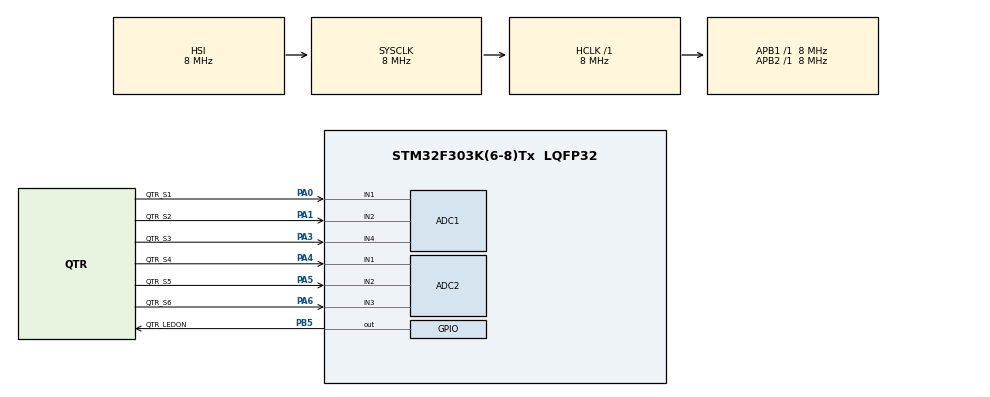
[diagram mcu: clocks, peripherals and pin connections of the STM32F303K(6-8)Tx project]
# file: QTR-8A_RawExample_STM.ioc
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ADC1.Channel-0\#ChannelRegularConversion=ADC_CHANNEL_1
ADC1.Channel-1\#ChannelRegularConversion=ADC_CHANNEL_2
ADC1.Channel-4\#ChannelRegularConversion=ADC_CHANNEL_4
ADC1.ClockPrescaler=ADC_CLOCK_ASYNC_DIV1
ADC1.DMAContinuousRequests=ENABLE
ADC1.EOCSelection=ADC_EOC_SEQ_CONV
ADC1.ExternalTrigConv=ADC_EXTERNALTRIGCONV_T2_TRGO
ADC1.InjNumberOfConversion=0
ADC1.NbrOfConversion=3
ADC1.NbrOfConversionFlag=1
ADC1.Offset-0\#ChannelRegularConversion=0
ADC1.Offset-1\#ChannelRegularConversion=0
ADC1.Offset-4\#ChannelRegularConversion=0
ADC1.OffsetNumber-0\#ChannelRegularConversion=ADC_OFFSET_NONE
ADC1.OffsetNumber-1\#ChannelRegularConversion=ADC_OFFSET_NONE
ADC1.OffsetNumber-4\#ChannelRegularConversion=ADC_OFFSET_NONE
ADC1.Rank-0\#ChannelRegularConversion=1
ADC1.Rank-1\#ChannelRegularConversion=2
ADC1.Rank-4\#ChannelRegularConversion=3
ADC1.SamplingTime-0\#ChannelRegularConversion=ADC_SAMPLETIME_181CYCLES_5
ADC1.SamplingTime-1\#ChannelRegularConversion=ADC_SAMPLETIME_181CYCLES_5
ADC1.SamplingTime-4\#ChannelRegularConversion=ADC_SAMPLETIME_181CYCLES_5
ADC1.master=1
ADC2.Channel-0\#ChannelRegularConversion=ADC_CHANNEL_1
ADC2.Channel-1\#ChannelRegularConversion=ADC_CHANNEL_2
ADC2.Channel-5\#ChannelRegularConversion=ADC_CHANNEL_3
ADC2.DMAContinuousRequests=ENABLE
ADC2.EOCSelection=ADC_EOC_SEQ_CONV
ADC2.ExternalTrigConv=ADC_EXTERNALTRIGCONV_T2_TRGO
ADC2.NbrOfConversion=3
ADC2.NbrOfConversionFlag=1
ADC2.Offset-0\#ChannelRegularConversion=0
ADC2.Offset-1\#ChannelRegularConversion=0
ADC2.Offset-5\#ChannelRegularConversion=0
ADC2.OffsetNumber-0\#ChannelRegularConversion=ADC_OFFSET_NONE
ADC2.OffsetNumber-1\#ChannelRegularConversion=ADC_OFFSET_NONE
ADC2.OffsetNumber-5\#ChannelRegularConversion=ADC_OFFSET_NONE
ADC2.Rank-0\#ChannelRegularConversion=1
ADC2.Rank-1\#ChannelRegularConversion=2
ADC2.Rank-5\#ChannelRegularConversion=3
ADC2.SamplingTime-0\#ChannelRegularConversion=ADC_SAMPLETIME_181CYCLES_5
ADC2.SamplingTime-1\#ChannelRegularConversion=ADC_SAMPLETIME_181CYCLES_5
ADC2.SamplingTime-5\#ChannelRegularConversion=ADC_SAMPLETIME_181CYCLES_5
Dma.ADC1.0.Direction=DMA_PERIPH_TO_MEMORY
Dma.ADC1.0.Instance=DMA1_Channel1
Dma.ADC1.0.MemDataAlignment=DMA_MDATAALIGN_WORD
Dma.ADC1.0.MemInc=DMA_MINC_ENABLE
Dma.ADC1.0.Mode=DMA_CIRCULAR
Dma.ADC1.0.PeriphDataAlignment=DMA_PDATAALIGN_WORD
Dma.ADC1.0.PeriphInc=DMA_PINC_DISABLE
Dma.ADC1.0.Priority=DMA_PRIORITY_LOW
Dma.ADC2.1.Direction=DMA_PERIPH_TO_MEMORY
Dma.ADC2.1.Instance=DMA1_Channel2
Dma.ADC2.1.MemDataAlignment=DMA_MDATAALIGN_WORD
Dma.ADC2.1.MemInc=DMA_MINC_ENABLE
Dma.ADC2.1.Mode=DMA_CIRCULAR
Dma.ADC2.1.PeriphDataAlignment=DMA_PDATAALIGN_WORD
Dma.ADC2.1.PeriphInc=DMA_PINC_DISABLE
Dma.ADC2.1.Priority=DMA_PRIORITY_LOW
Dma.Request0=ADC1
Dma.Request1=ADC2
Mcu.Family=STM32F3
Mcu.Name=STM32F303K(6-8)Tx
Mcu.Package=LQFP32
NVIC.ADC1_2_IRQn=true\:0\:0\:false\:false\:true\:true\:true
NVIC.DMA1_Channel1_IRQn=true\:0\:0\:false\:false\:true\:false\:true
NVIC.DMA1_Channel2_IRQn=true\:0\:0\:false\:false\:true\:false\:true
NVIC.PriorityGroup=NVIC_PRIORITYGROUP_4
PA0.GPIO_Label=QTR_S1
PA0.Mode=IN1-Single-Ended
PA0.Signal=ADC1_IN1
PA1.GPIO_Label=QTR_S2
PA1.Mode=IN2-Single-Ended
PA1.Signal=ADC1_IN2
PA3.GPIO_Label=QTR_S3
PA3.Mode=IN4-Single-Ended
PA3.Signal=ADC1_IN4
PA4.GPIO_Label=QTR_S4
PA4.Mode=IN1-Single-Ended
PA4.Signal=ADC2_IN1
PA5.GPIO_Label=QTR_S5
PA5.Mode=IN2-Single-Ended
PA5.Signal=ADC2_IN2
PA6.GPIO_Label=QTR_S6
PA6.Mode=IN3-Single-Ended
PA6.Signal=ADC2_IN3
PB5.GPIO_Label=QTR_LEDON
PB5.Signal=GPIO_Output
ProjectManager.HeapSize=0x200
ProjectManager.StackSize=0x400
ProjectManager.TargetToolchain=TrueSTUDIO
RCC.AHBFreq_Value=8000000
RCC.APB1Freq_Value=8000000
RCC.APB1TimFreq_Value=8000000
RCC.APB2Freq_Value=8000000
RCC.CortexFreq_Value=8000000
RCC.HSE_VALUE=8000000
RCC.HSI_VALUE=8000000
RCC.PLLMUL=RCC_PLL_MUL4
RCC.SYSCLKFreq_VALUE=8000000
TIM2.Period=500
TIM2.Prescaler=8
TIM2.TIM_MasterOutputTrigger=TIM_TRGO_UPDATE
VP_TIM2_VS_ClockSourceINT.Mode=Internal
board=custom

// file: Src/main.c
/* USER CODE BEGIN Header */
/**
  ******************************************************************************
  * @file           : main.c
  * @brief          : Main program body
  ******************************************************************************
  * @attention
  *
  * <h2><center>&copy; Copyright (c) 2019 STMicroelectronics.
  * All rights reserved.</center></h2>
  *
  * This software component is licensed by ST under BSD 3-Clause license,
  * the "License"; You may not use this file except in compliance with the
  * License. You may obtain a copy of the License at:
  *                        opensource.org/licenses/BSD-3-Clause
  *
  ******************************************************************************
  */
/* USER CODE END Header */

#include "main.h"

ADC_HandleTypeDef hadc1;
ADC_HandleTypeDef hadc2;
DMA_HandleTypeDef hdma_adc1;
DMA_HandleTypeDef hdma_adc2;

TIM_HandleTypeDef htim2;

void SystemClock_Config(void);
static void MX_GPIO_Init(void);
static void MX_DMA_Init(void);
static void MX_ADC1_Init(void);
static void MX_TIM2_Init(void);
static void MX_ADC2_Init(void);

/* USER CODE BEGIN 0 */
uint8_t _numSensors=6;
uint32_t sensorValues[6];

int _lastValue=0;
uint32_t _maxValue=4000;
const uint32_t _lineValue = 200;
const uint32_t _noiseThreshold = 50;

int readLine(uint32_t *sensor_values, uint8_t white_line)
{
	uint8_t i, on_line=0;
	unsigned long avg=0;
	unsigned int sum=0;

	for(i=0; i<_numSensors; i++)
	{
		uint32_t value = sensor_values[i];
		if(white_line)
			value = _maxValue-value;

		if(value>_lineValue)
			on_line=1;

		if(value>_noiseThreshold)
		{
			avg += (unsigned long)( value )*( (i+1)*1000 );
			sum += value;
		}
	}

	if(!on_line)
	{
		if(_lastValue<(_numSensors)*1000/2)
			return 0;
		else
			return (_numSensors)*1000;
	}

	_lastValue = avg/sum;

	return _lastValue;
}
/* USER CODE END 0 */

int main(void)
{

  /* MCU Configuration--------------------------------------------------------*/

  /* Reset of all peripherals, Initializes the Flash interface and the Systick. */
  HAL_Init();

  /* Configure the system clock */
  SystemClock_Config();

  /* Initialize all configured peripherals */
  MX_GPIO_Init();
  MX_DMA_Init();
  MX_ADC1_Init();
  MX_TIM2_Init();
  MX_ADC2_Init();
  /* USER CODE BEGIN 2 */
  // Iniciar o timer
  HAL_TIM_Base_Start(&htim2);

  // Ativar o LEDON
  HAL_GPIO_WritePin(GPIOB, QTR_LEDON_Pin, SET);

  // Ativar o ADC1 com DMA
  HAL_ADC_Start_DMA(&hadc1, &sensorValues[0], 3);

  // Ativar o ADC2 com DMA
  HAL_ADC_Start_DMA(&hadc2, &sensorValues[3], 3);

  int pos=0;
  /* USER CODE END 2 */

  /* Infinite loop */
  while (1)
  {

	  /* USER CODE BEGIN 3 */
	  HAL_Delay(100);
	  pos = readLine(sensorValues, 1);
  }

  /* USER CODE END 3 */
}

void SystemClock_Config(void)
{
  RCC_OscInitTypeDef RCC_OscInitStruct = {0};
  RCC_ClkInitTypeDef RCC_ClkInitStruct = {0};
  RCC_PeriphCLKInitTypeDef PeriphClkInit = {0};

  /** Initializes the CPU, AHB and APB busses clocks
  */
  RCC_OscInitStruct.OscillatorType = RCC_OSCILLATORTYPE_HSI;
  RCC_OscInitStruct.HSIState = RCC_HSI_ON;
  RCC_OscInitStruct.HSICalibrationValue = RCC_HSICALIBRATION_DEFAULT;
  RCC_OscInitStruct.PLL.PLLState = RCC_PLL_ON;
  RCC_OscInitStruct.PLL.PLLSource = RCC_PLLSOURCE_HSI;
  RCC_OscInitStruct.PLL.PLLMUL = RCC_PLL_MUL4;
  if (HAL_RCC_OscConfig(&RCC_OscInitStruct) != HAL_OK)
  {
    Error_Handler();
  }
  /** Initializes the CPU, AHB and APB busses clocks
  */
  RCC_ClkInitStruct.ClockType = RCC_CLOCKTYPE_HCLK|RCC_CLOCKTYPE_SYSCLK
                              |RCC_CLOCKTYPE_PCLK1|RCC_CLOCKTYPE_PCLK2;
  RCC_ClkInitStruct.SYSCLKSource = RCC_SYSCLKSOURCE_HSI;
  RCC_ClkInitStruct.AHBCLKDivider = RCC_SYSCLK_DIV1;
  RCC_ClkInitStruct.APB1CLKDivider = RCC_HCLK_DIV1;
  RCC_ClkInitStruct.APB2CLKDivider = RCC_HCLK_DIV1;

  if (HAL_RCC_ClockConfig(&RCC_ClkInitStruct, FLASH_LATENCY_0) != HAL_OK)
  {
    Error_Handler();
  }
  PeriphClkInit.PeriphClockSelection = RCC_PERIPHCLK_ADC12;
  PeriphClkInit.Adc12ClockSelection = RCC_ADC12PLLCLK_DIV1;
  if (HAL_RCCEx_PeriphCLKConfig(&PeriphClkInit) != HAL_OK)
  {
    Error_Handler();
  }
}

static void MX_ADC1_Init(void)
{

  ADC_MultiModeTypeDef multimode = {0};
  ADC_ChannelConfTypeDef sConfig = {0};

  /** Common config
  */
  hadc1.Instance = ADC1;
  hadc1.Init.ClockPrescaler = ADC_CLOCK_ASYNC_DIV1;
  hadc1.Init.Resolution = ADC_RESOLUTION_12B;
  hadc1.Init.ScanConvMode = ADC_SCAN_ENABLE;
  hadc1.Init.ContinuousConvMode = DISABLE;
  hadc1.Init.DiscontinuousConvMode = DISABLE;
  hadc1.Init.ExternalTrigConvEdge = ADC_EXTERNALTRIGCONVEDGE_RISING;
  hadc1.Init.ExternalTrigConv = ADC_EXTERNALTRIGCONV_T2_TRGO;
  hadc1.Init.DataAlign = ADC_DATAALIGN_RIGHT;
  hadc1.Init.NbrOfConversion = 3;
  hadc1.Init.DMAContinuousRequests = ENABLE;
  hadc1.Init.EOCSelection = ADC_EOC_SEQ_CONV;
  hadc1.Init.LowPowerAutoWait = DISABLE;
  hadc1.Init.Overrun = ADC_OVR_DATA_OVERWRITTEN;
  if (HAL_ADC_Init(&hadc1) != HAL_OK)
  {
    Error_Handler();
  }
  /** Configure the ADC multi-mode
  */
  multimode.Mode = ADC_MODE_INDEPENDENT;
  if (HAL_ADCEx_MultiModeConfigChannel(&hadc1, &multimode) != HAL_OK)
  {
    Error_Handler();
  }
  /** Configure Regular Channel
  */
  sConfig.Channel = ADC_CHANNEL_1;
  sConfig.Rank = ADC_REGULAR_RANK_1;
  sConfig.SingleDiff = ADC_SINGLE_ENDED;
  sConfig.SamplingTime = ADC_SAMPLETIME_181CYCLES_5;
  sConfig.OffsetNumber = ADC_OFFSET_NONE;
  sConfig.Offset = 0;
  if (HAL_ADC_ConfigChannel(&hadc1, &sConfig) != HAL_OK)
  {
    Error_Handler();
  }
  /** Configure Regular Channel
  */
  sConfig.Channel = ADC_CHANNEL_2;
  sConfig.Rank = ADC_REGULAR_RANK_2;
  if (HAL_ADC_ConfigChannel(&hadc1, &sConfig) != HAL_OK)
  {
    Error_Handler();
  }
  /** Configure Regular Channel
  */
  sConfig.Channel = ADC_CHANNEL_4;
  sConfig.Rank = ADC_REGULAR_RANK_3;
  if (HAL_ADC_ConfigChannel(&hadc1, &sConfig) != HAL_OK)
  {
    Error_Handler();
  }

}

static void MX_ADC2_Init(void)
{

  ADC_ChannelConfTypeDef sConfig = {0};

  /** Common config
  */
  hadc2.Instance = ADC2;
  hadc2.Init.ClockPrescaler = ADC_CLOCK_ASYNC_DIV1;
  hadc2.Init.Resolution = ADC_RESOLUTION_12B;
  hadc2.Init.ScanConvMode = ADC_SCAN_ENABLE;
  hadc2.Init.ContinuousConvMode = DISABLE;
  hadc2.Init.DiscontinuousConvMode = DISABLE;
  hadc2.Init.ExternalTrigConvEdge = ADC_EXTERNALTRIGCONVEDGE_RISING;
  hadc2.Init.ExternalTrigConv = ADC_EXTERNALTRIGCONV_T2_TRGO;
  hadc2.Init.DataAlign = ADC_DATAALIGN_RIGHT;
  hadc2.Init.NbrOfConversion = 3;
  hadc2.Init.DMAContinuousRequests = ENABLE;
  hadc2.Init.EOCSelection = ADC_EOC_SEQ_CONV;
  hadc2.Init.LowPowerAutoWait = DISABLE;
  hadc2.Init.Overrun = ADC_OVR_DATA_OVERWRITTEN;
  if (HAL_ADC_Init(&hadc2) != HAL_OK)
  {
    Error_Handler();
  }
  /** Configure Regular Channel
  */
  sConfig.Channel = ADC_CHANNEL_1;
  sConfig.Rank = ADC_REGULAR_RANK_1;
  sConfig.SingleDiff = ADC_SINGLE_ENDED;
  sConfig.SamplingTime = ADC_SAMPLETIME_181CYCLES_5;
  sConfig.OffsetNumber = ADC_OFFSET_NONE;
  sConfig.Offset = 0;
  if (HAL_ADC_ConfigChannel(&hadc2, &sConfig) != HAL_OK)
  {
    Error_Handler();
  }
  /** Configure Regular Channel
  */
  sConfig.Channel = ADC_CHANNEL_2;
  sConfig.Rank = ADC_REGULAR_RANK_2;
  if (HAL_ADC_ConfigChannel(&hadc2, &sConfig) != HAL_OK)
  {
    Error_Handler();
  }
  /** Configure Regular Channel
  */
  sConfig.Channel = ADC_CHANNEL_3;
  sConfig.Rank = ADC_REGULAR_RANK_3;
  if (HAL_ADC_ConfigChannel(&hadc2, &sConfig) != HAL_OK)
  {
    Error_Handler();
  }

}

static void MX_TIM2_Init(void)
{

  TIM_ClockConfigTypeDef sClockSourceConfig = {0};
  TIM_MasterConfigTypeDef sMasterConfig = {0};

  htim2.Instance = TIM2;
  htim2.Init.Prescaler = 8;
  htim2.Init.CounterMode = TIM_COUNTERMODE_UP;
  htim2.Init.Period = 500;
  htim2.Init.ClockDivision = TIM_CLOCKDIVISION_DIV1;
  htim2.Init.AutoReloadPreload = TIM_AUTORELOAD_PRELOAD_DISABLE;
  if (HAL_TIM_Base_Init(&htim2) != HAL_OK)
  {
    Error_Handler();
  }
  sClockSourceConfig.ClockSource = TIM_CLOCKSOURCE_INTERNAL;
  if (HAL_TIM_ConfigClockSource(&htim2, &sClockSourceConfig) != HAL_OK)
  {
    Error_Handler();
  }
  sMasterConfig.MasterOutputTrigger = TIM_TRGO_UPDATE;
  sMasterConfig.MasterSlaveMode = TIM_MASTERSLAVEMODE_DISABLE;
  if (HAL_TIMEx_MasterConfigSynchronization(&htim2, &sMasterConfig) != HAL_OK)
  {
    Error_Handler();
  }

}

static void MX_DMA_Init(void)
{
  /* DMA controller clock enable */
  __HAL_RCC_DMA1_CLK_ENABLE();

  /* DMA interrupt init */
  /* DMA1_Channel1_IRQn interrupt configuration */
  HAL_NVIC_SetPriority(DMA1_Channel1_IRQn, 0, 0);
  HAL_NVIC_EnableIRQ(DMA1_Channel1_IRQn);
  /* DMA1_Channel2_IRQn interrupt configuration */
  HAL_NVIC_SetPriority(DMA1_Channel2_IRQn, 0, 0);
  HAL_NVIC_EnableIRQ(DMA1_Channel2_IRQn);

}

static void MX_GPIO_Init(void)
{
  GPIO_InitTypeDef GPIO_InitStruct = {0};

  /* GPIO Ports Clock Enable */
  __HAL_RCC_GPIOA_CLK_ENABLE();
  __HAL_RCC_GPIOB_CLK_ENABLE();

  /*Configure GPIO pin Output Level */
  HAL_GPIO_WritePin(QTR_LEDON_GPIO_Port, QTR_LEDON_Pin, GPIO_PIN_RESET);

  /*Configure GPIO pin : QTR_LEDON_Pin */
  GPIO_InitStruct.Pin = QTR_LEDON_Pin;
  GPIO_InitStruct.Mode = GPIO_MODE_OUTPUT_PP;
  GPIO_InitStruct.Pull = GPIO_NOPULL;
  GPIO_InitStruct.Speed = GPIO_SPEED_FREQ_LOW;
  HAL_GPIO_Init(QTR_LEDON_GPIO_Port, &GPIO_InitStruct);

}

/* USER CODE BEGIN 4 */
// Interrup��o de final de convers�o
void HAL_ADC_ConvCpltCallback(ADC_HandleTypeDef* hadc)
{
  /* Prevent unused argument(s) compilation warning */
  UNUSED(hadc);

  /* NOTE : This function should not be modified. When the callback is needed,
            function HAL_ADC_ConvCpltCallback must be implemented in the user file.
   */
}
/* USER CODE END 4 */

void Error_Handler(void)
{
}

/************************ (C) COPYRIGHT STMicroelectronics *****END OF FILE****/
